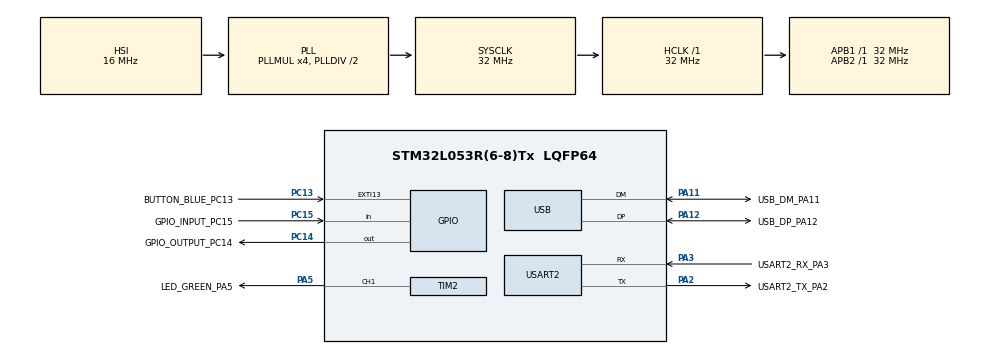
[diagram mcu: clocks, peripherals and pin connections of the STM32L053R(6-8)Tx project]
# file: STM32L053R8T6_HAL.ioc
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ADC.ContinuousConvMode=ENABLE
ADC.DMAContinuousRequests=ENABLE
ADC.EOCSelection=ADC_EOC_SEQ_CONV
ADC.Overrun=ADC_OVR_DATA_OVERWRITTEN
ADC.SamplingTime=ADC_SAMPLETIME_160CYCLES_5
Dma.ADC.0.Direction=DMA_PERIPH_TO_MEMORY
Dma.ADC.0.Instance=DMA1_Channel1
Dma.ADC.0.MemDataAlignment=DMA_MDATAALIGN_HALFWORD
Dma.ADC.0.MemInc=DMA_MINC_ENABLE
Dma.ADC.0.Mode=DMA_CIRCULAR
Dma.ADC.0.PeriphDataAlignment=DMA_PDATAALIGN_HALFWORD
Dma.ADC.0.PeriphInc=DMA_PINC_DISABLE
Dma.ADC.0.Priority=DMA_PRIORITY_LOW
Dma.Request0=ADC
Mcu.Family=STM32L0
Mcu.Name=STM32L053R(6-8)Tx
Mcu.Package=LQFP64
NVIC.ADC1_COMP_IRQn=true\:0\:0\:false\:false\:true\:true\:true\:true
NVIC.DMA1_Channel1_IRQn=true\:0\:0\:false\:false\:true\:false\:true\:true
NVIC.EXTI4_15_IRQn=true\:0\:0\:false\:false\:true\:true\:true\:true
NVIC.TIM2_IRQn=true\:0\:0\:false\:false\:true\:true\:true\:true
NVIC.USART2_IRQn=true\:0\:0\:false\:false\:true\:true\:true\:true
NVIC.USB_IRQn=true\:0\:0\:false\:false\:true\:false\:true\:true
PA11.GPIO_Label=USB_DM_PA11
PA11.Mode=Device
PA11.Signal=USB_DM
PA12.GPIO_Label=USB_DP_PA12
PA12.Mode=Device
PA12.Signal=USB_DP
PA2.GPIO_Label=USART2_TX_PA2
PA2.Mode=Asynchronous
PA2.Signal=USART2_TX
PA3.GPIO_Label=USART2_RX_PA3
PA3.Mode=Asynchronous
PA3.Signal=USART2_RX
PA5.GPIO_Label=LED_GREEN_PA5
PA5.Signal=S_TIM2_CH1
PC13.GPIO_Label=BUTTON_BLUE_PC13
PC13.GPIO_ModeDefaultEXTI=GPIO_MODE_IT_RISING_FALLING
PC13.Signal=GPXTI13
PC14-OSC32_IN.GPIO_Label=GPIO_OUTPUT_PC14
PC14-OSC32_IN.Signal=GPIO_Output
PC15-OSC32_OUT.GPIO_Label=GPIO_INPUT_PC15
PC15-OSC32_OUT.Signal=GPIO_Input
ProjectManager.HeapSize=0x200
ProjectManager.StackSize=0x400
ProjectManager.TargetToolchain=STM32CubeIDE
RCC.AHBFreq_Value=32000000
RCC.APB1Freq_Value=32000000
RCC.APB1TimFreq_Value=32000000
RCC.APB2Freq_Value=32000000
RCC.APB2TimFreq_Value=32000000
RCC.HCLKFreq_Value=32000000
RCC.HSE_VALUE=8000000
RCC.HSI16_VALUE=16000000
RCC.HSI48MClockSelection=RCC_USBCLKSOURCE_HSI48
RCC.HSI48_VALUE=48000000
RCC.HSI_VALUE=16000000
RCC.LSE_VALUE=32768
RCC.MSI_VALUE=2097000
RCC.PLLMUL=RCC_PLLMUL_4
RCC.SYSCLKFreq_VALUE=32000000
RCC.SYSCLKSource=RCC_SYSCLKSOURCE_PLLCLK
RCC.VCOOutputFreq_Value=64000000
SH.S_TIM2_CH1.0=TIM2_CH1,PWM Generation1 CH1
TIM2.AutoReloadPreload=TIM_AUTORELOAD_PRELOAD_ENABLE
TIM2.Channel-PWM\ Generation1\ CH1=TIM_CHANNEL_1
TIM2.Period=1000-1
TIM2.Prescaler=32-1
USART2.VirtualMode-Asynchronous=VM_ASYNC
USB_DEVICE.APP_RX_DATA_SIZE=256
USB_DEVICE.APP_TX_DATA_SIZE=256
USB_DEVICE.CLASS_NAME_FS=CDC
USB_DEVICE.VirtualMode=Cdc
USB_DEVICE.VirtualModeFS=Cdc_FS
VP_ADC_TempSens_Input.Mode=IN-TempSens
VP_ADC_Vref_Input.Mode=IN-Vrefint
VP_TIM2_VS_ClockSourceINT.Mode=Internal
VP_USB_DEVICE_VS_USB_DEVICE_CDC_FS.Mode=CDC_FS
board=custom

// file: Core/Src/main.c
/* USER CODE BEGIN Header */
/**
  ******************************************************************************
  * @file           : main.c
  * @brief          : Main program body
  ******************************************************************************
  * @attention
  *
  * Copyright (c) 2024 STMicroelectronics.
  * All rights reserved.
  *
  * This software is licensed under terms that can be found in the LICENSE file
  * in the root directory of this software component.
  * If no LICENSE file comes with this software, it is provided AS-IS.
  *
  ******************************************************************************
  */
/* USER CODE END Header */
#include "main.h"
#include "adc.h"
#include "dma.h"
#include "tim.h"
#include "usart.h"
#include "usb_device.h"
#include "gpio.h"

/* USER CODE BEGIN Includes */
#include "usbd_cdc_if.h"
/* USER CODE END Includes */

/* USER CODE BEGIN PD */
#define CMD_BUFFER_SIZE 64

#define ADC_BUFFER_SIZE 2
/* USER CODE END PD */

/* USER CODE BEGIN PV */
uint8_t uart2_rx_data = 0;

uint8_t print_test_idx = 0;
//led
uint8_t led_toggle = 0;
uint16_t led_duty = 0;
uint8_t led_pwm_is_start = 0;
// cmd
uint8_t cmd_buffer[CMD_BUFFER_SIZE] = {0};
uint8_t cmd_index = 0;
uint8_t cmd_activate = 0;
//adc
uint16_t ADC_Raw_Data[ADC_BUFFER_SIZE] = {0};
/* USER CODE END PV */

void SystemClock_Config(void);

int main(void)
{

  /* MCU Configuration--------------------------------------------------------*/

  /* Reset of all peripherals, Initializes the Flash interface and the Systick. */
  HAL_Init();

  /* Configure the system clock */
  SystemClock_Config();

  /* Initialize all configured peripherals */
  MX_GPIO_Init();
  MX_DMA_Init();
  MX_TIM2_Init();
  MX_USART2_UART_Init();
  MX_USB_DEVICE_Init();
  MX_ADC_Init();
  /* USER CODE BEGIN 2 */
  HAL_UART_Receive_IT(&huart2, &uart2_rx_data, 1);

  //HAL_TIM_PWM_Start(&htim2, TIM_CHANNEL_1);
  HAL_TIM_PWM_Start_IT(&htim2, TIM_CHANNEL_1);
  led_pwm_is_start = 1;

  if (HAL_ADCEx_Calibration_Start(&hadc, ADC_SINGLE_ENDED) != HAL_OK)
  {
    Error_Handler();
  }

  if (HAL_ADC_Start_DMA(&hadc, (uint32_t*)ADC_Raw_Data, ADC_BUFFER_SIZE) != HAL_OK)
  {
    Error_Handler();
  }

  printf("STM32L053R8T6 HAL Initialize!!\r\n\r\n");
  /* USER CODE END 2 */

  /* Infinite loop */
  /* USER CODE BEGIN WHILE */
  while (1)
  {
#if 1
	if(cmd_activate == 1)
	{
		__HAL_TIM_SET_COMPARE(&htim2, TIM_CHANNEL_1, led_duty);
		cmd_activate = 0;
	}
#elif 0
	printf("print test %d\r\n", print_test_idx++);
	HAL_Delay(500);

	led_duty += 100;
	if(led_duty > 1000)
	{
		led_duty = 0;
	}
#elif 0
	printf("print test %d\r\n", print_test_idx++);
	HAL_Delay(500);

	if(led_toggle == 0)
	{
		HAL_TIM_PWM_Start(&htim2, TIM_CHANNEL_1);
		__HAL_TIM_SET_COMPARE(&htim2, TIM_CHANNEL_1, 1000);
		led_toggle = 1;
	}
	else
	{
		HAL_TIM_PWM_Stop(&htim2, TIM_CHANNEL_1);
		__HAL_TIM_SET_COMPARE(&htim2, TIM_CHANNEL_1, 0);
		led_toggle = 0;
	}
#endif
    /* USER CODE END WHILE */

  }
}

void SystemClock_Config(void)
{
  RCC_OscInitTypeDef RCC_OscInitStruct = {0};
  RCC_ClkInitTypeDef RCC_ClkInitStruct = {0};
  RCC_PeriphCLKInitTypeDef PeriphClkInit = {0};

  /** Configure the main internal regulator output voltage
  */
  __HAL_PWR_VOLTAGESCALING_CONFIG(PWR_REGULATOR_VOLTAGE_SCALE1);

  /** Initializes the RCC Oscillators according to the specified parameters
  * in the RCC_OscInitTypeDef structure.
  */
  RCC_OscInitStruct.OscillatorType = RCC_OSCILLATORTYPE_HSI|RCC_OSCILLATORTYPE_HSI48;
  RCC_OscInitStruct.HSIState = RCC_HSI_ON;
  RCC_OscInitStruct.HSICalibrationValue = RCC_HSICALIBRATION_DEFAULT;
  RCC_OscInitStruct.HSI48State = RCC_HSI48_ON;
  RCC_OscInitStruct.PLL.PLLState = RCC_PLL_ON;
  RCC_OscInitStruct.PLL.PLLSource = RCC_PLLSOURCE_HSI;
  RCC_OscInitStruct.PLL.PLLMUL = RCC_PLLMUL_4;
  RCC_OscInitStruct.PLL.PLLDIV = RCC_PLLDIV_2;
  if (HAL_RCC_OscConfig(&RCC_OscInitStruct) != HAL_OK)
  {
    Error_Handler();
  }

  /** Initializes the CPU, AHB and APB buses clocks
  */
  RCC_ClkInitStruct.ClockType = RCC_CLOCKTYPE_HCLK|RCC_CLOCKTYPE_SYSCLK
                              |RCC_CLOCKTYPE_PCLK1|RCC_CLOCKTYPE_PCLK2;
  RCC_ClkInitStruct.SYSCLKSource = RCC_SYSCLKSOURCE_PLLCLK;
  RCC_ClkInitStruct.AHBCLKDivider = RCC_SYSCLK_DIV1;
  RCC_ClkInitStruct.APB1CLKDivider = RCC_HCLK_DIV1;
  RCC_ClkInitStruct.APB2CLKDivider = RCC_HCLK_DIV1;

  if (HAL_RCC_ClockConfig(&RCC_ClkInitStruct, FLASH_LATENCY_1) != HAL_OK)
  {
    Error_Handler();
  }
  PeriphClkInit.PeriphClockSelection = RCC_PERIPHCLK_USART2|RCC_PERIPHCLK_USB;
  PeriphClkInit.Usart2ClockSelection = RCC_USART2CLKSOURCE_PCLK1;
  PeriphClkInit.UsbClockSelection = RCC_USBCLKSOURCE_HSI48;
  if (HAL_RCCEx_PeriphCLKConfig(&PeriphClkInit) != HAL_OK)
  {
    Error_Handler();
  }
}

/* USER CODE BEGIN 4 */
int _write(int fd, char *str, int len)
{
  HAL_UART_Transmit(&huart2, (uint8_t *)str, len, 0xFFFF);
  CDC_Transmit_FS((uint8_t*)str, len);

  return len;
}

void Put_Char(uint8_t data)
{
  HAL_UART_Transmit(&huart2, &data, 1, HAL_MAX_DELAY);
  CDC_Transmit_FS((uint8_t*)&data, 1);
}

void Put_String(const char *format, ...)
{
  va_list ap;
  char buf[64] = {0};
  uint8_t len = 0;

  va_start(ap, format);
  vsprintf(buf, format, ap);

  len = strlen(buf);

  HAL_UART_Transmit(&huart2, (uint8_t *)buf, len, 0xFFFF);
  CDC_Transmit_FS((uint8_t*)buf, len);

  va_end(ap);
}

void Cmd_Input(uint8_t rx_data)
{
	if(rx_data == '\r' || rx_data == '\n')
	{
		led_duty = atoi((char*)cmd_buffer);

		if(led_duty > 1010)
		{
			if(led_pwm_is_start == 1)
			{
				//HAL_TIM_PWM_Stop(&htim2, TIM_CHANNEL_1);
				HAL_TIM_PWM_Stop_IT(&htim2, TIM_CHANNEL_1);
				led_pwm_is_start = 0;
			}
			else
			{
				//HAL_TIM_PWM_Start(&htim2, TIM_CHANNEL_1);
				HAL_TIM_PWM_Start_IT(&htim2, TIM_CHANNEL_1);
				led_pwm_is_start = 1;
			}
		}
		else
		{
			cmd_activate = 1;
		}

		Put_String("\r\n%s\r\n > ", cmd_buffer);

		memset(cmd_buffer, 0x00, CMD_BUFFER_SIZE);
		cmd_index = 0;

		return;
	}

	if(cmd_buffer[cmd_index] == CMD_BUFFER_SIZE)
	{
		return;
	}

	if('0' <= rx_data && rx_data <= '9')
	{
		cmd_buffer[cmd_index] = rx_data;
		cmd_index++;
		Put_String("%c", rx_data);
	}
}

void HAL_UART_RxCpltCallback(UART_HandleTypeDef *huart)
{
  if(huart->Instance == USART2)
  {
	Cmd_Input(uart2_rx_data);

	HAL_UART_Receive_IT(&huart2, &uart2_rx_data, 1);
  }
}

void HAL_GPIO_EXTI_Callback(uint16_t GPIO_Pin)
{
	if(GPIO_Pin == BUTTON_BLUE_PC13_Pin)
	{
		if(HAL_GPIO_ReadPin(BUTTON_BLUE_PC13_GPIO_Port, BUTTON_BLUE_PC13_Pin) == GPIO_PIN_SET)
		{
			HAL_GPIO_WritePin(GPIO_OUTPUT_PC14_GPIO_Port, GPIO_OUTPUT_PC14_Pin, GPIO_PIN_RESET);
			Put_String("Button Pull, GPIO_OUTPUT_PC14 RESET\r\n");
		}
		else
		{
			HAL_GPIO_WritePin(GPIO_OUTPUT_PC14_GPIO_Port, GPIO_OUTPUT_PC14_Pin, GPIO_PIN_SET);
			Put_String("Button Push, GPIO_OUTPUT_PC14 SET\r\n");
		}

		Put_String("GPIO_OUTPUT_PC14 BSRR %ld\r\n", READ_BIT(GPIO_OUTPUT_PC14_GPIO_Port->BSRR, GPIO_OUTPUT_PC14_Pin) >> 14);
		Put_String("GPIO_OUTPUT_PC14 BRR %ld\r\n", READ_BIT(GPIO_OUTPUT_PC14_GPIO_Port->BRR, GPIO_OUTPUT_PC14_Pin) >> 14);
		Put_String("GPIO_OUTPUT_PC14 ODR %ld\r\n", READ_BIT(GPIO_OUTPUT_PC14_GPIO_Port->ODR, GPIO_OUTPUT_PC14_Pin) >> GPIO_ODR_OD14_Pos);
		Put_String("GPIO_OUTPUT_PC14 IDR %ld\r\n", HAL_GPIO_ReadPin(GPIO_OUTPUT_PC14_GPIO_Port, GPIO_OUTPUT_PC14_Pin));
		Put_String("GPIO_INPUT_PC15 IDR %ld\r\n", HAL_GPIO_ReadPin(GPIO_INPUT_PC15_GPIO_Port, GPIO_INPUT_PC15_Pin));

		Put_String("ADC %d %d\r\n", ADC_Raw_Data[0], ADC_Raw_Data[1]);
	}
}
/* USER CODE END 4 */

void Error_Handler(void)
{
  __disable_irq();
  while (1)
  {
  }
}
